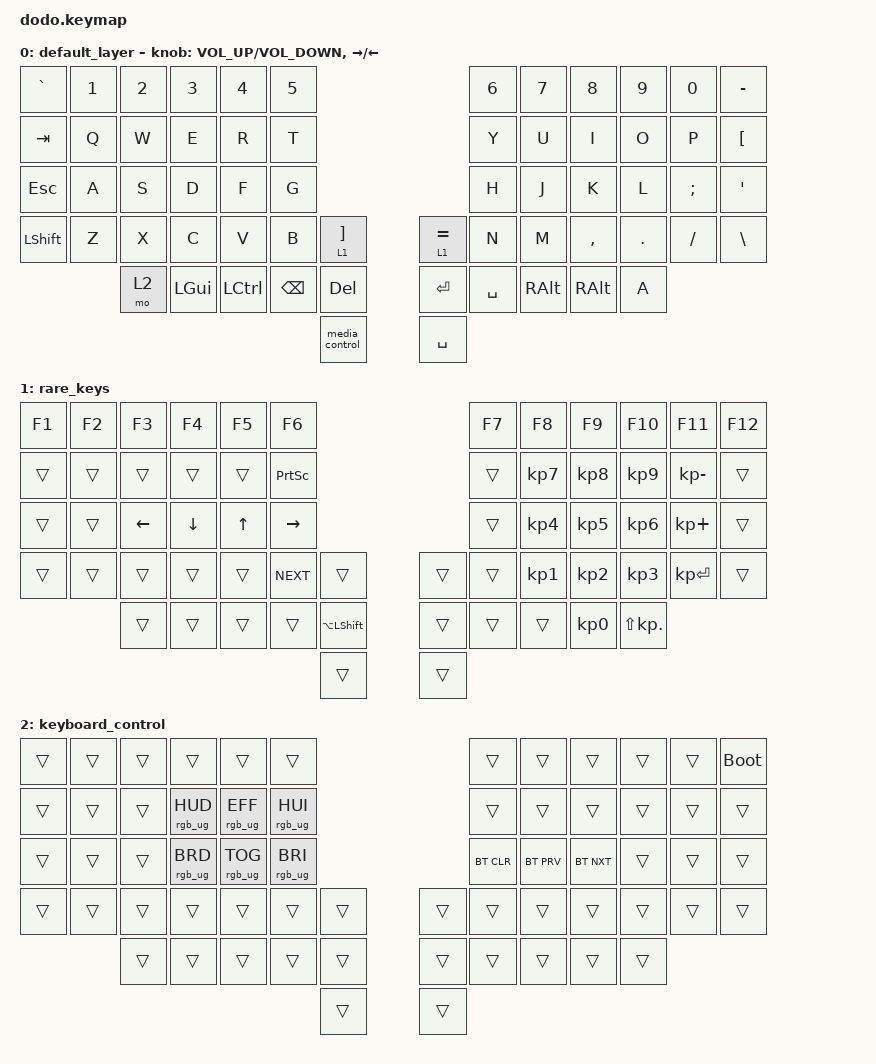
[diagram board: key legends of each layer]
#include <behaviors.dtsi>
#include <dt-bindings/zmk/bt.h>
#include <dt-bindings/zmk/keys.h>
#include <dt-bindings/zmk/rgb.h>

/ {
    behaviors {
        media_control: media_control {
            compatible = "zmk,behavior-tap-dance";
            label = "MEDIA_CONTROL";
            #binding-cells = <0>;
            bindings = <&kp K_PLAY_PAUSE>, <&kp K_NEXT>, <&kp K_PREV>;
        };

        rgb_brightness: rgb_brightness {
            compatible = "zmk,behavior-sensor-rotate";
            label = "RGB_BRIGHTNESS";
            #sensor-binding-cells = <0>;
            bindings = <&rgb_ug RGB_BRI>, <&rgb_ug RGB_BRD>;
        };
    };

    keymap {
        compatible = "zmk,keymap";

        default_layer {
            bindings = <
&kp GRAVE   &kp N1  &kp N2  &kp N3    &kp N4            &kp N5                                           &kp N6     &kp N7         &kp N8     &kp N9   &kp N0    &kp MINUS
&kp TAB     &kp Q   &kp W   &kp E     &kp R             &kp T                                            &kp Y      &kp U          &kp I      &kp O    &kp P     &kp LEFT_BRACKET
&kp ESCAPE  &kp A   &kp S   &kp D     &kp F             &kp G                                            &kp H      &kp J          &kp K      &kp L    &kp SEMI  &kp SQT
&kp LSHIFT  &kp Z   &kp X   &kp C     &kp V             &kp B          &lt 1 RIGHT_BRACKET  &lt 1 EQUAL  &kp N      &kp M          &kp COMMA  &kp DOT  &kp FSLH  &kp BACKSLASH
                    &mo 2   &kp LGUI  &kp LEFT_CONTROL  &kp BACKSPACE  &kp DELETE           &kp ENTER    &kp SPACE  &kp RIGHT_ALT  &kp RALT   &kp A
                                                                       &media_control       &kp SPACE
            >;

            sensor-bindings =
                <&inc_dec_kp K_VOLUME_UP K_VOLUME_DOWN>,
                <&inc_dec_kp RIGHT LEFT>;
        };

        rare_keys {
            bindings = <
&kp F1  &kp F2  &kp F3    &kp F4    &kp F5  &kp F6                                       &kp F7  &kp F8     &kp F9     &kp F10         &kp F11       &kp F12
&trans  &trans  &trans    &trans    &trans  &kp PRINTSCREEN                              &trans  &kp KP_N7  &kp KP_N8  &kp KP_N9       &kp KP_MINUS  &trans
&trans  &trans  &kp LEFT  &kp DOWN  &kp UP  &kp RIGHT                                    &trans  &kp KP_N4  &kp KP_N5  &kp KP_N6       &kp KP_PLUS   &trans
&trans  &trans  &trans    &trans    &trans  &kp K_NEXT       &trans              &trans  &trans  &kp KP_N1  &kp KP_N2  &kp KP_N3       &kp KP_ENTER  &trans
                &trans    &trans    &trans  &trans           &kp LA(LEFT_SHIFT)  &trans  &trans  &trans     &kp KP_N0  &kp LS(KP_DOT)
                                                             &trans              &trans
            >;
        };

        keyboard_control {
            bindings = <
&trans  &trans  &trans  &trans           &trans           &trans                           &trans      &trans      &trans      &trans  &trans  &bootloader
&trans  &trans  &trans  &rgb_ug RGB_HUD  &rgb_ug RGB_EFF  &rgb_ug RGB_HUI                  &trans      &trans      &trans      &trans  &trans  &trans
&trans  &trans  &trans  &rgb_ug RGB_BRD  &rgb_ug RGB_TOG  &rgb_ug RGB_BRI                  &bt BT_CLR  &bt BT_PRV  &bt BT_NXT  &trans  &trans  &trans
&trans  &trans  &trans  &trans           &trans           &trans           &trans  &trans  &trans      &trans      &trans      &trans  &trans  &trans
                &trans  &trans           &trans           &trans           &trans  &trans  &trans      &trans      &trans      &trans
                                                                           &trans  &trans
            >;
        };
    };
};
